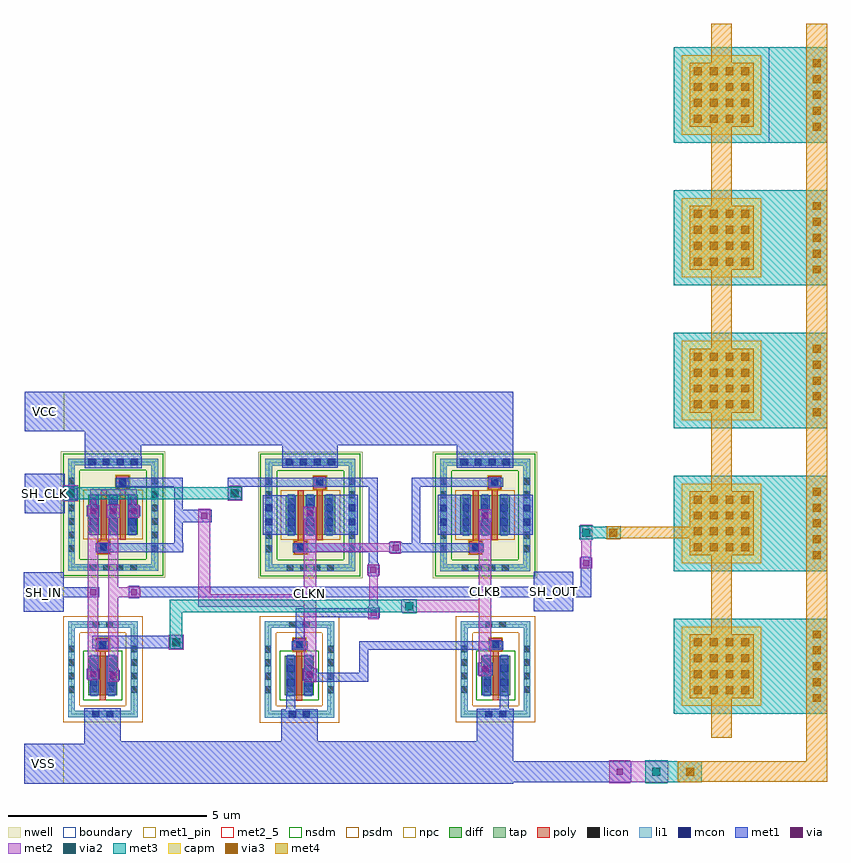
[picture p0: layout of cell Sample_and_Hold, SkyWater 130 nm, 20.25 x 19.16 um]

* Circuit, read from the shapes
.subckt Sample_and_Hold CLKB CLKN SH_CLK SH_IN SH_OUT VCC VSS
XM1 SH_OUT CLKB SH_IN VSS sky130_fd_pr__nfet_01v8 w=1 l=0.15
XM2 CLKN SH_CLK VSS VSS sky130_fd_pr__nfet_01v8 w=1 l=0.15
XM3 VSS CLKN CLKB VSS sky130_fd_pr__nfet_01v8 w=1 l=0.15
XM4 SH_OUT CLKN SH_IN VCC sky130_fd_pr__pfet_01v8 w=1 l=0.15 m=2
XM5 CLKN SH_CLK VCC VCC sky130_fd_pr__pfet_01v8 w=1 l=0.15 m=2
XM6 CLKB CLKN VCC VCC sky130_fd_pr__pfet_01v8 w=1 l=0.15 m=2
XC7 SH_OUT VSS sky130_fd_pr__cap_mim_m3_1 w=2 l=2 m=5
.ends

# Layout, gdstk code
import gdstk
lib = gdstk.Library(unit=1e-6, precision=1e-09)
def R(c, l, rs):  # rectangles x0, y0, x1, y1
    for r in rs: c.add(gdstk.rectangle(r[:2], r[2:], *l))
def A(c, l, x, y, w, h, nx, ny, dx, dy):  # array of equal rectangles
    R(c, l, [(x+i*dx, y+j*dy, x+i*dx+w, y+j*dy+h) for i in range(nx) for j in range(ny)])
nwell = (64, 20)
diff = (65, 20)
tap = (65, 44)
poly = (66, 20)
licon = (66, 44)
li1 = (67, 20)
mcon = (67, 44)
met1_pin = (68, 16)
met1 = (68, 20)
via = (68, 44)
met2_5 = (69, 5)
met2 = (69, 20)
via2 = (69, 44)
met3 = (70, 20)
via3 = (70, 44)
met4 = (71, 20)
capm = (89, 44)
nsdm = (93, 44)
psdm = (94, 20)
npc = (95, 20)
boundary = (235, 4)

sky130_fd_pr__nfet_01v8_ = lib.new_cell('sky130_fd_pr__nfet_01v8_64Z3AY')
R(sky130_fd_pr__nfet_01v8_, diff, [(-0.365,-0.655,0.365,0.345)])
R(sky130_fd_pr__nfet_01v8_, tap, [(-0.875,-1.215,0.875,-1.045), (-0.875,-1.045,-0.705,1.045), (0.705,-1.045,0.875,1.045), (-0.875,1.045,0.875,1.215)])
R(sky130_fd_pr__nfet_01v8_, poly, [(-0.075,-0.785,0.075,0.455), (-0.165,0.455,0.165,0.785)])
A(sky130_fd_pr__nfet_01v8_, licon, -0.875, -0.595, 0.17, 0.17, 1, 4, 0, 0.34)
A(sky130_fd_pr__nfet_01v8_, licon, 0.705, -0.595, 0.17, 0.17, 1, 4, 0, 0.34)
A(sky130_fd_pr__nfet_01v8_, licon, -0.305, -0.58, 0.17, 0.17, 1, 3, 0, 0.34)
A(sky130_fd_pr__nfet_01v8_, licon, 0.135, -0.58, 0.17, 0.17, 1, 3, 0, 0.34)
R(sky130_fd_pr__nfet_01v8_, licon, [(-0.255,-1.215,-0.085,-1.045), (0.085,-1.215,0.255,-1.045), (-0.085,0.535,0.085,0.705), (-0.255,1.045,-0.085,1.215), (0.085,1.045,0.255,1.215)])
R(sky130_fd_pr__nfet_01v8_, li1, [(-0.875,-1.215,0.875,-1.045), (-0.875,-1.045,-0.705,1.045), (0.705,-1.045,0.875,1.045), (-0.305,-0.675,-0.135,0.365), (0.135,-0.675,0.305,0.365), (-0.165,0.535,0.165,0.705), (-0.875,1.045,0.875,1.215)])
R(sky130_fd_pr__nfet_01v8_, mcon, [(-0.305,-0.42,-0.135,-0.25), (0.135,-0.42,0.305,-0.25), (-0.305,-0.06,-0.135,0.11), (0.135,-0.06,0.305,0.11), (-0.085,0.535,0.085,0.705)])
R(sky130_fd_pr__nfet_01v8_, met1, [(-0.335,-0.655,-0.105,0.345), (0.105,-0.655,0.335,0.345), (-0.145,0.505,0.145,0.735)])
R(sky130_fd_pr__nfet_01v8_, nsdm, [(-0.49,-0.78,0.49,0.47)])
R(sky130_fd_pr__nfet_01v8_, psdm, [(-1,-1.34,1,-0.92), (-1,-0.92,-0.58,0.92), (0.58,-0.92,1,0.92), (-1,0.92,1,1.34)])
R(sky130_fd_pr__nfet_01v8_, npc, [(-0.185,0.435,0.185,0.805)])
R(sky130_fd_pr__nfet_01v8_, boundary, [(-0.79,-1.13,0.79,1.13)])

sky130_fd_pr__pfet_01v8_ = lib.new_cell('sky130_fd_pr__pfet_01v8_XGEKHL')
R(sky130_fd_pr__pfet_01v8_, nwell, [(-1.315,-1.595,1.315,1.595)])
R(sky130_fd_pr__pfet_01v8_, diff, [(-0.625,-0.5,0.625,0.5)])
R(sky130_fd_pr__pfet_01v8_, tap, [(-1.135,-1.415,1.135,-1.245), (-1.135,-1.245,-0.965,1.245), (0.965,-1.245,1.135,1.245), (-1.135,1.245,1.135,1.415)])
R(sky130_fd_pr__pfet_01v8_, poly, [(-0.405,-0.985,-0.075,-0.655), (-0.315,-0.655,-0.165,0.63), (0.165,-0.63,0.315,0.655), (0.075,0.655,0.405,0.985)])
A(sky130_fd_pr__pfet_01v8_, licon, -0.595, -1.415, 0.17, 0.17, 4, 2, 0.34, 2.66)
A(sky130_fd_pr__pfet_01v8_, licon, -1.135, -0.935, 0.17, 0.17, 1, 6, 0, 0.34)
A(sky130_fd_pr__pfet_01v8_, licon, 0.965, -0.935, 0.17, 0.17, 1, 6, 0, 0.34)
A(sky130_fd_pr__pfet_01v8_, licon, -0.565, -0.425, 0.17, 0.17, 3, 3, 0.48, 0.34)
R(sky130_fd_pr__pfet_01v8_, licon, [(-0.325,-0.905,-0.155,-0.735), (0.155,0.735,0.325,0.905)])
A(sky130_fd_pr__pfet_01v8_, li1, -0.565, -0.52, 0.17, 1.04, 3, 1, 0.48, 0)
R(sky130_fd_pr__pfet_01v8_, li1, [(-1.135,-1.415,1.135,-1.245), (-1.135,-1.245,-0.965,1.245), (0.965,-1.245,1.135,1.245), (-0.405,-0.905,-0.075,-0.735), (0.075,0.735,0.405,0.905), (-1.135,1.245,1.135,1.415)])
A(sky130_fd_pr__pfet_01v8_, mcon, -0.565, -0.265, 0.17, 0.17, 3, 2, 0.48, 0.36)
R(sky130_fd_pr__pfet_01v8_, mcon, [(-0.325,-0.905,-0.155,-0.735), (0.155,0.735,0.325,0.905)])
A(sky130_fd_pr__pfet_01v8_, met1, -0.595, -0.5, 0.23, 1, 3, 1, 0.48, 0)
R(sky130_fd_pr__pfet_01v8_, met1, [(-0.385,-0.935,-0.095,-0.705), (0.095,0.705,0.385,0.935)])
R(sky130_fd_pr__pfet_01v8_, nsdm, [(-1.26,-1.54,1.26,-1.12), (-1.26,-1.12,-0.84,1.12), (0.84,-1.12,1.26,1.12), (-1.26,1.12,1.26,1.54)])
R(sky130_fd_pr__pfet_01v8_, psdm, [(-0.75,-0.625,0.75,0.625)])
R(sky130_fd_pr__pfet_01v8_, npc, [(-0.425,-1.005,-0.055,-0.635), (0.055,0.635,0.425,1.005)])
R(sky130_fd_pr__pfet_01v8_, boundary, [(-1.05,-1.33,1.05,1.33)])

sky130_fd_pr__cap_mim_m3 = lib.new_cell('sky130_fd_pr__cap_mim_m3_1_VLUT89')
A(sky130_fd_pr__cap_mim_m3, met3, -1.93, -8.4, 3.86, 2.4, 1, 5, 0, 3.6)
A(sky130_fd_pr__cap_mim_m3, via3, 1.57, -8.1, 0.2, 0.2, 1, 5, 0, 0.4)
A(sky130_fd_pr__cap_mim_m3, via3, -1.43, -7.9, 0.2, 0.2, 4, 4, 0.4, 0.4)
A(sky130_fd_pr__cap_mim_m3, via3, 1.57, -4.5, 0.2, 0.2, 1, 5, 0, 0.4)
A(sky130_fd_pr__cap_mim_m3, via3, -1.43, -4.3, 0.2, 0.2, 4, 4, 0.4, 0.4)
A(sky130_fd_pr__cap_mim_m3, via3, 1.57, -0.9, 0.2, 0.2, 1, 5, 0, 0.4)
A(sky130_fd_pr__cap_mim_m3, via3, -1.43, -0.7, 0.2, 0.2, 4, 4, 0.4, 0.4)
A(sky130_fd_pr__cap_mim_m3, via3, 1.57, 2.7, 0.2, 0.2, 1, 5, 0, 0.4)
A(sky130_fd_pr__cap_mim_m3, via3, -1.43, 2.9, 0.2, 0.2, 4, 4, 0.4, 0.4)
A(sky130_fd_pr__cap_mim_m3, via3, 1.57, 6.3, 0.2, 0.2, 1, 5, 0, 0.4)
A(sky130_fd_pr__cap_mim_m3, via3, -1.43, 6.5, 0.2, 0.2, 4, 4, 0.4, 0.4)
A(sky130_fd_pr__cap_mim_m3, met4, -1.535, -8.005, 1.61, 1.61, 1, 5, 0, 3.6)
A(sky130_fd_pr__cap_mim_m3, met4, -0.99, -6.395, 0.52, 1.99, 1, 4, 0, 3.6)
R(sky130_fd_pr__cap_mim_m3, met4, [(-0.99,-9,-0.47,-8.005), (1.41,-9,1.93,9), (-0.99,8.005,-0.47,9)])
A(sky130_fd_pr__cap_mim_m3, capm, -1.73, -8.2, 2, 2, 1, 5, 0, 3.6)
R(sky130_fd_pr__cap_mim_m3, boundary, [(-1.93,6,0.47,8.4)])

sample_and_hold = lib.new_cell('Sample_and_Hold')
R(sample_and_hold, li1, [(8.665,-21.365,9.455,-21.195), (3.71,-21.36,4.5,-21.19), (13.61,-21.36,14.4,-21.19), (12.605,-16.7,12.775,-15.82), (14.705,-16.7,14.875,-15.82), (8.2,-16.695,8.37,-15.815), (10.3,-16.695,10.47,-15.815), (13.085,-15.015,14.395,-14.845), (3.71,-15.01,5.02,-14.84), (8.68,-15.01,9.99,-14.84)])
A(sample_and_hold, mcon, 13.115, -15.015, 0.17, 0.17, 4, 1, 0.36, 0)
A(sample_and_hold, mcon, 3.74, -15.01, 0.17, 0.17, 4, 1, 0.36, 0)
A(sample_and_hold, mcon, 8.71, -15.01, 0.17, 0.17, 4, 1, 0.36, 0)
R(sample_and_hold, mcon, [(8.795,-21.365,8.965,-21.195), (9.155,-21.365,9.325,-21.195), (3.84,-21.36,4.01,-21.19), (4.2,-21.36,4.37,-21.19), (13.74,-21.36,13.91,-21.19), (14.1,-21.36,14.27,-21.19), (12.605,-16.525,12.775,-16.355), (14.705,-16.525,14.875,-16.355), (8.2,-16.52,8.37,-16.35), (10.3,-16.52,10.47,-16.35), (12.605,-16.165,12.775,-15.995), (14.705,-16.165,14.875,-15.995), (8.2,-16.16,8.37,-15.99), (10.3,-16.16,10.47,-15.99)])
R(sample_and_hold, met1_pin, [(2.12,-23.025,3.12,-22.025), (2.115,-18.7,3.115,-17.7), (14.96,-18.685,15.96,-17.685), (2.14,-16.215,3.14,-15.215), (2.135,-14.15,3.135,-13.15)])
R(sample_and_hold, met1, [(2.12,-23.025,14.45,-22.99), (2.12,-22.99,17.425,-22.47), (2.12,-22.47,14.45,-22.025), (3.635,-22.025,14.45,-21.955), (3.635,-21.955,4.555,-21.125), (8.605,-21.955,9.525,-21.15), (13.53,-21.955,14.45,-21.42), (13.53,-21.42,14.46,-21.145), (8.725,-21.15,8.955,-20.6), (14.11,-21.145,14.34,-20.8), (9.28,-20.455,10.795,-20.44), (9.14,-20.44,10.795,-20.23), (4.21,-20.425,4.53,-20.165), (3.7,-20.395,4.02,-20.135), (13.555,-20.295,13.93,-19.98), (9.14,-20.23,9.51,-20.13), (10.57,-20.23,10.795,-19.66), (5.77,-19.66,6.145,-19.62), (8.865,-19.66,9.265,-19.435), (10.57,-19.66,14.2,-19.435), (3.915,-19.64,4.31,-19.62), (3.84,-19.62,6.145,-19.305), (8.965,-19.435,9.19,-18.83), (5.77,-19.305,6.145,-19.28), (10.77,-18.85,11.09,-18.83), (8.965,-18.83,11.09,-18.605), (2.115,-18.7,3.115,-18.335), (14.96,-18.685,15.96,-18.325), (10.77,-18.605,11.09,-18.59), (4.76,-18.36,5.02,-18.325), (2.115,-18.335,4.02,-18.075), (4.76,-18.325,16.41,-18.07), (2.115,-18.075,3.115,-17.7), (4.76,-18.07,5.02,-18.04), (14.96,-18.07,15.96,-17.685), (16.155,-18.07,16.41,-17.63), (10.795,-17.8,11.055,-17.48), (16.155,-17.63,16.415,-17.31), (10.81,-17.48,11.035,-17.195), (11.325,-17.21,11.645,-17.195), (3.925,-17.2,6.135,-16.975), (8.895,-17.195,11.035,-16.97), (11.325,-17.195,13.7,-16.97), (5.9,-16.975,6.125,-16.435), (10.81,-16.97,11.035,-15.545), (11.325,-16.97,11.645,-16.95), (11.885,-16.97,12.11,-15.545), (8.14,-16.76,8.97,-15.755), (12.545,-16.76,13.38,-15.75), (14.105,-16.76,14.94,-15.75), (9.7,-16.755,10.53,-15.75), (5.9,-16.435,6.845,-16.125), (13.585,-16.43,13.905,-16.11), (9.16,-16.375,9.48,-16.055), (4.2,-16.325,4.53,-16.005), (4.73,-16.295,5.05,-16.035), (3.7,-16.29,4.02,-16.03), (2.14,-16.215,3.14,-15.86), (5.9,-16.125,6.125,-15.55), (7.255,-15.895,7.615,-15.545), (2.14,-15.86,3.46,-15.565), (2.14,-15.565,3.14,-15.215), (4.425,-15.55,6.125,-15.325), (7.255,-15.545,11.035,-15.32), (11.885,-15.545,14.2,-15.32), (3.65,-15.075,5.08,-14.775), (8.625,-15.07,10.03,-14.5), (13.025,-15.07,14.455,-14.5), (3.65,-14.775,5.075,-14.5), (3.65,-14.5,14.455,-14.15), (2.135,-14.15,14.455,-13.15)])
R(sample_and_hold, via, [(17.06,-22.805,17.21,-22.655), (4.295,-20.37,4.445,-20.22), (9.25,-20.36,9.4,-20.21), (3.785,-20.34,3.935,-20.19), (13.665,-20.215,13.815,-20.065), (5.88,-19.54,6.03,-19.39), (10.855,-18.795,11.005,-18.645), (3.785,-18.28,3.935,-18.13), (4.815,-18.275,4.965,-18.125), (10.85,-17.715,11,-17.565), (16.21,-17.545,16.36,-17.395), (11.41,-17.155,11.56,-17.005), (6.585,-16.355,6.735,-16.205), (13.67,-16.345,13.82,-16.195), (9.245,-16.29,9.395,-16.14), (4.815,-16.24,4.965,-16.09), (3.785,-16.235,3.935,-16.085), (4.295,-16.235,4.445,-16.085), (3.205,-15.79,3.355,-15.64), (7.36,-15.785,7.51,-15.635)])
R(sample_and_hold, met2_5, [(9.17,-20.13,9.48,-16.345), (13.585,-19.98,13.9,-16.4)])
R(sample_and_hold, met2, [(16.875,-23.02,17.395,-22.99), (16.875,-22.99,18.36,-22.47), (16.875,-22.47,17.395,-22.44), (9.17,-20.47,9.48,-18.565), (4.24,-20.455,4.5,-20.135), (3.73,-20.425,3.99,-16), (13.585,-20.325,13.9,-18.715), (4.24,-20.135,4.495,-18.33), (5.77,-19.66,6.145,-19.28), (10.8,-18.88,11.06,-18.56), (11.63,-18.715,13.9,-18.4), (6.505,-18.565,9.48,-18.255), (10.815,-18.56,11.04,-17.77), (13.585,-18.4,13.9,-16.43), (4.24,-18.33,5.05,-18.075), (6.505,-18.255,6.815,-16.095), (9.17,-18.255,9.48,-17.19), (4.24,-18.075,4.495,-16.325), (4.73,-18.075,5.05,-18.07), (10.765,-17.77,11.085,-17.51), (16.125,-17.6,16.445,-17.34), (16.16,-17.34,16.415,-16.895), (11.355,-17.24,11.615,-17.19), (9.17,-17.19,11.615,-16.965), (9.17,-16.965,9.48,-16.375), (11.355,-16.965,11.615,-16.92), (16.14,-16.895,16.44,-16.505), (13.585,-16.43,13.905,-16.11), (9.16,-16.375,9.48,-16.055), (4.2,-16.325,4.53,-16.005), (4.76,-16.325,5.02,-16.005), (4.82,-16.005,4.96,-15.75), (3.79,-16,3.93,-15.75), (3.095,-15.905,3.48,-15.51), (7.255,-15.9,7.62,-15.53), (3.79,-15.75,4.96,-15.61), (7.295,-15.53,7.575,-15.525)])
R(sample_and_hold, via2, [(17.955,-22.83,18.155,-22.63), (5.855,-19.565,6.055,-19.365), (11.73,-18.66,11.93,-18.46), (16.19,-16.8,16.39,-16.6), (3.185,-15.81,3.385,-15.61), (7.335,-15.81,7.535,-15.61)])
R(sample_and_hold, met3, [(17.77,-23.015,18.34,-22.99), (17.77,-22.99,19.195,-22.47), (17.77,-22.47,18.34,-22.445), (5.79,-19.63,6.12,-19.3), (5.795,-19.3,6.11,-18.71), (11.65,-18.74,12.015,-18.71), (5.795,-18.71,12.015,-18.395), (11.65,-18.395,12.015,-18.375), (16.115,-16.875,16.465,-16.85), (16.78,-16.86,17.16,-16.85), (16.115,-16.85,17.16,-16.55), (16.115,-16.55,16.465,-16.525), (16.78,-16.55,17.16,-16.54), (3.11,-15.885,3.46,-15.86), (7.27,-15.875,7.6,-15.86), (3.11,-15.86,7.6,-15.56), (3.11,-15.56,3.46,-15.535), (7.27,-15.56,7.6,-15.545)])
R(sample_and_hold, via3, [(18.805,-22.83,19.005,-22.63), (16.87,-16.8,17.07,-16.6)])
R(sample_and_hold, met4, [(18.64,-22.995,19.17,-22.985), (18.59,-22.985,22,-22.98), (18.59,-22.98,22.36,-22.465), (21.84,-22.465,22.36,-21.865), (16.805,-16.865,17.135,-16.85), (16.805,-16.85,18.9,-16.55), (16.805,-16.55,17.135,-16.535)])
sample_and_hold.add(gdstk.Reference(sky130_fd_pr__nfet_01v8_, (14.005,-20.145)))
sample_and_hold.add(gdstk.Reference(sky130_fd_pr__pfet_01v8_, (9.335,-16.26)))
sample_and_hold.add(gdstk.Reference(sky130_fd_pr__nfet_01v8_, (9.06,-20.15)))
sample_and_hold.add(gdstk.Reference(sky130_fd_pr__nfet_01v8_, (4.105,-20.145)))
sample_and_hold.add(gdstk.Reference(sky130_fd_pr__pfet_01v8_, (4.365,-16.25)))
sample_and_hold.add(gdstk.Reference(sky130_fd_pr__pfet_01v8_, (13.74,-16.26)))
sample_and_hold.add(gdstk.Reference(sky130_fd_pr__cap_mim_m3, (20.43,-12.87)))
sample_and_hold.add(gdstk.Label('CLKN', (9.325,-18.237), layer=69, texttype=5))
sample_and_hold.add(gdstk.Label('CLKB', (13.742,-18.19), layer=69, texttype=5))
sample_and_hold.add(gdstk.Label('SH_OUT', (15.46,-18.185), layer=68, texttype=5))
sample_and_hold.add(gdstk.Label('SH_IN', (2.615,-18.2), layer=68, texttype=5))
sample_and_hold.add(gdstk.Label('VSS', (2.62,-22.525), layer=68, texttype=5))
sample_and_hold.add(gdstk.Label('VCC', (2.635,-13.65), layer=68, texttype=5))
sample_and_hold.add(gdstk.Label('SH_CLK', (2.64,-15.715), layer=68, texttype=5))

lib.write_gds('Sample_and_Hold.gds')
